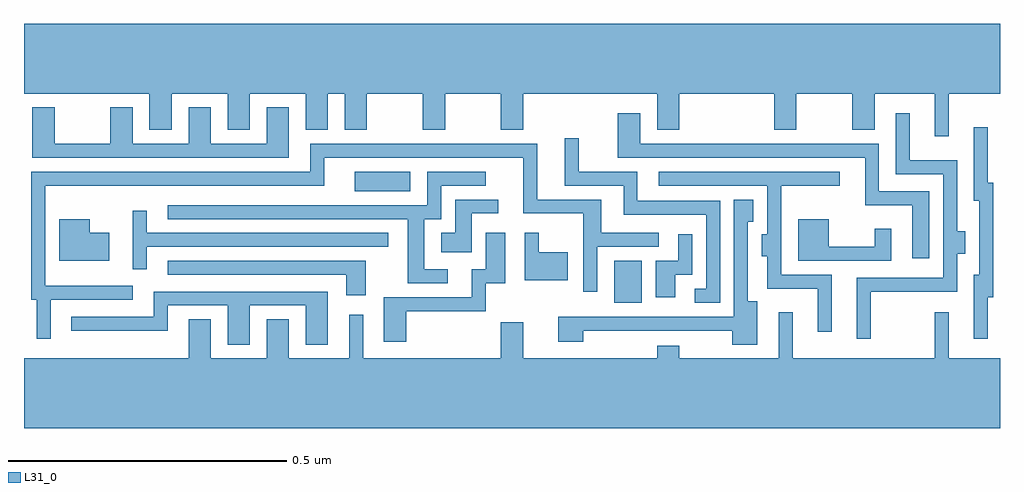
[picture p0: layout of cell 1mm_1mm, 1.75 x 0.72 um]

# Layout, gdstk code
import gdstk
lib = gdstk.Library(unit=1e-6, precision=1e-09)
def R(c, l, rs):  # rectangles x0, y0, x1, y1
    for r in rs: c.add(gdstk.rectangle(r[:2], r[2:], *l))
def P(c, l, *ps):  # polygons
    for p in ps: c.add(gdstk.Polygon(p, *l))
L31_0 = (31, 0)

c_1mm_1mm = lib.new_cell('1mm_1mm')
R(c_1mm_1mm, L31_0, [(-306.514,660.755,-306.464,660.83), (-306.979,660.955,-306.879,660.99)])
P(c_1mm_1mm, L31_0, [(-306.439,660.765),(-306.439,660.83),(-306.399,660.83),(-306.399,660.878),(-306.374,660.878),(-306.374,660.805),(-306.404,660.805),(-306.404,660.765)],
  [(-306.149,660.703),(-306.149,660.78),(-306.239,660.78),(-306.239,660.838),(-306.249,660.838),(-306.249,660.878),(-306.239,660.878),(-306.239,660.965),(-306.434,660.965),(-306.434,660.99),(-306.109,660.99),(-306.109,660.965),(-306.214,660.965),(-306.214,660.805),(-306.124,660.805),(-306.124,660.703)],
  [(-306.184,660.83),(-306.184,660.905),(-306.129,660.905),(-306.129,660.855),(-306.047,660.855),(-306.047,660.888),(-306.017,660.888),(-306.017,660.83)],
  [(-306.079,660.69),(-306.079,660.8),(-305.924,660.8),(-305.924,660.985),(-306.009,660.985),(-306.009,661.095),(-305.984,661.095),(-305.984,661.01),(-305.899,661.01),(-305.899,660.883),(-305.884,660.883),(-305.884,660.843),(-305.899,660.843),(-305.899,660.775),(-306.054,660.775),(-306.054,660.69)],
  [(-305.869,660.69),(-305.869,660.805),(-305.859,660.805),(-305.859,660.938),(-305.869,660.938),(-305.869,661.07),(-305.844,661.07),(-305.844,660.97),(-305.834,660.97),(-305.834,660.765),(-305.844,660.765),(-305.844,660.69)],
  [(-306.369,660.755),(-306.369,660.78),(-306.349,660.78),(-306.349,660.913),(-306.497,660.913),(-306.497,660.965),(-306.602,660.965),(-306.602,661.05),(-306.577,661.05),(-306.577,660.99),(-306.472,660.99),(-306.472,660.938),(-306.324,660.938),(-306.324,660.755)],
  [(-306.674,660.795),(-306.674,660.88),(-306.649,660.88),(-306.649,660.845),(-306.597,660.845),(-306.597,660.795)],
  [(-307.509,660.83),(-307.509,660.905),(-307.454,660.905),(-307.454,660.88),(-307.419,660.88),(-307.419,660.83)],
  [(-307.377,660.815),(-307.377,660.92),(-307.352,660.92),(-307.352,660.88),(-306.919,660.88),(-306.919,660.855),(-307.352,660.855),(-307.352,660.815)],
  [(-307.557,661.015),(-307.557,661.105),(-307.517,661.105),(-307.517,661.04),(-307.417,661.04),(-307.417,661.105),(-307.377,661.105),(-307.377,661.04),(-307.277,661.04),(-307.277,661.105),(-307.237,661.105),(-307.237,661.04),(-307.137,661.04),(-307.137,661.105),(-307.097,661.105),(-307.097,661.015)],
  [(-307.207,660.68),(-307.207,660.75),(-307.314,660.75),(-307.314,660.705),(-307.487,660.705),(-307.487,660.73),(-307.339,660.73),(-307.339,660.775),(-307.027,660.775),(-307.027,660.68),(-307.067,660.68),(-307.067,660.75),(-307.167,660.75),(-307.167,660.68)],
  [(-306.994,660.768),(-306.994,660.805),(-307.314,660.805),(-307.314,660.83),(-306.959,660.83),(-306.959,660.768)],
  [(-306.884,660.79),(-306.884,660.905),(-307.314,660.905),(-307.314,660.93),(-306.849,660.93),(-306.849,660.99),(-306.744,660.99),(-306.744,660.965),(-306.824,660.965),(-306.824,660.905),(-306.854,660.905),(-306.854,660.815),(-306.812,660.815),(-306.812,660.79)],
  [(-306.824,660.845),(-306.824,660.88),(-306.799,660.88),(-306.799,660.94),(-306.722,660.94),(-306.722,660.915),(-306.769,660.915),(-306.769,660.845)],
  [(-306.927,660.685),(-306.927,660.765),(-306.769,660.765),(-306.769,660.815),(-306.744,660.815),(-306.744,660.88),(-306.709,660.88),(-306.709,660.79),(-306.744,660.79),(-306.744,660.74),(-306.887,660.74),(-306.887,660.685)],
  [(-306.302,660.68),(-306.302,660.705),(-306.569,660.705),(-306.569,660.685),(-306.614,660.685),(-306.614,660.73),(-306.299,660.73),(-306.299,660.94),(-306.264,660.94),(-306.264,660.9),(-306.274,660.9),(-306.274,660.758),(-306.257,660.758),(-306.257,660.68)],
  [(-305.979,660.835),(-305.979,660.93),(-306.064,660.93),(-306.064,661.015),(-306.507,661.015),(-306.507,661.095),(-306.467,661.095),(-306.467,661.04),(-306.039,661.04),(-306.039,660.955),(-305.949,660.955),(-305.949,660.835)],
  [(-307.572,660.53),(-307.572,660.655),(-307.277,660.655),(-307.277,660.725),(-307.237,660.725),(-307.237,660.655),(-307.137,660.655),(-307.137,660.725),(-307.097,660.725),(-307.097,660.655),(-306.989,660.655),(-306.989,660.733),(-306.964,660.733),(-306.964,660.655),(-306.717,660.655),(-306.717,660.72),(-306.677,660.72),(-306.677,660.655),(-306.437,660.655),(-306.437,660.678),(-306.397,660.678),(-306.397,660.655),(-306.219,660.655),(-306.219,660.738),(-306.194,660.738),(-306.194,660.655),(-305.939,660.655),(-305.939,660.738),(-305.914,660.738),(-305.914,660.655),(-305.822,660.655),(-305.822,660.53)],
  [(-305.939,661.053),(-305.939,661.13),(-306.047,661.13),(-306.047,661.065),(-306.087,661.065),(-306.087,661.13),(-306.187,661.13),(-306.187,661.065),(-306.227,661.065),(-306.227,661.13),(-306.397,661.13),(-306.397,661.065),(-306.437,661.065),(-306.437,661.13),(-306.677,661.13),(-306.677,661.065),(-306.717,661.065),(-306.717,661.13),(-306.817,661.13),(-306.817,661.065),(-306.857,661.065),(-306.857,661.13),(-306.957,661.13),(-306.957,661.065),(-306.997,661.065),(-306.997,661.13),(-307.027,661.13),(-307.027,661.065),(-307.067,661.065),(-307.067,661.13),(-307.167,661.13),(-307.167,661.065),(-307.207,661.065),(-307.207,661.13),(-307.307,661.13),(-307.307,661.065),(-307.347,661.065),(-307.347,661.13),(-307.572,661.13),(-307.572,661.255),(-305.822,661.255),(-305.822,661.13),(-305.914,661.13),(-305.914,661.053)],
  [(-307.549,660.69),(-307.549,660.76),(-307.559,660.76),(-307.559,660.99),(-307.059,660.99),(-307.059,661.04),(-306.652,661.04),(-306.652,660.94),(-306.537,660.94),(-306.537,660.88),(-306.434,660.88),(-306.434,660.855),(-306.544,660.855),(-306.544,660.775),(-306.569,660.775),(-306.569,660.915),(-306.677,660.915),(-306.677,661.015),(-307.034,661.015),(-307.034,660.965),(-307.534,660.965),(-307.534,660.785),(-307.377,660.785),(-307.377,660.76),(-307.524,660.76),(-307.524,660.69)])

lib.write_gds('1mm_1mm.gds')
